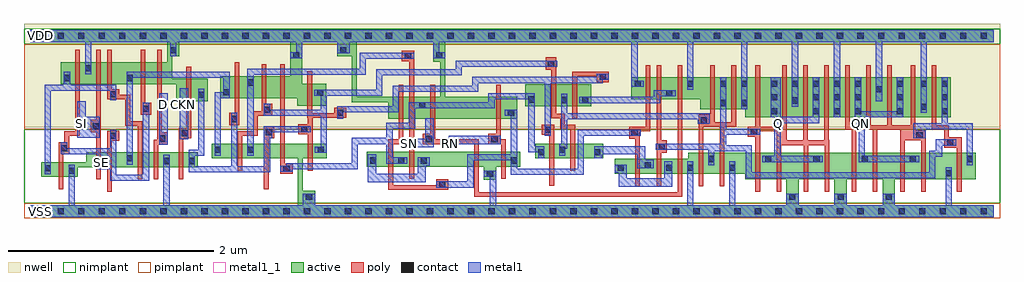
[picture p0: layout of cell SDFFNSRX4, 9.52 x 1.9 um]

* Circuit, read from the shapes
.subckt SDFFNSRX4 CKN D Q QN RN SE SI SN VDD VSS
M1 VSS SE n1 VSS nfet w=0.145u l=0.045u
M2 n2 SI VSS VSS nfet w=0.145u l=0.045u
M3 n3 SE n2 VSS nfet w=0.145u l=0.045u
M4 n4 n1 n3 VSS nfet w=0.145u l=0.045u
M5 VSS D n4 VSS nfet w=0.145u l=0.045u
M6 n5 CKN VSS VSS nfet w=0.145u l=0.045u
M7 n6 n7 n3 VSS nfet w=0.145u l=0.045u
M8 n8 n5 n6 VSS nfet w=0.145u l=0.045u
M9 VSS n9 n8 VSS nfet w=0.145u l=0.045u
M10 n7 n5 VSS VSS nfet w=0.145u l=0.045u
M11 n9 n10 n11 VSS nfet w=0.145u l=0.045u
M12 n11 n6 n9 VSS nfet w=0.145u l=0.045u
M13 VSS SN n11 VSS nfet w=0.145u l=0.045u
M14 n10 RN VSS VSS nfet w=0.145u l=0.045u
M15 n12 n5 n9 VSS nfet w=0.145u l=0.045u
M16 n13 n7 n12 VSS nfet w=0.145u l=0.045u
M17 n13 n10 n14 VSS nfet w=0.145u l=0.045u
M18 n14 n15 n13 VSS nfet w=0.145u l=0.045u
M19 VSS SN n14 VSS nfet w=0.145u l=0.045u
M20 n15 n12 VSS VSS nfet w=0.205u l=0.045u m=2
M21 Q n15 VSS VSS nfet w=0.26u l=0.045u m=4
M22 QN n16 VSS VSS nfet w=0.26u l=0.045u m=4
M23 n16 n15 VSS VSS nfet w=0.26u l=0.045u
M24 VDD SE n1 VDD pfet w=0.215u l=0.045u
M25 n17 SI VDD VDD pfet w=0.215u l=0.045u
M26 n3 n1 n17 VDD pfet w=0.215u l=0.045u
M27 n18 SE n3 VDD pfet w=0.215u l=0.045u
M28 VDD D n18 VDD pfet w=0.215u l=0.045u
M29 n5 CKN VDD VDD pfet w=0.215u l=0.045u
M30 n6 n5 n3 VDD pfet w=0.215u l=0.045u
M31 n19 n7 n6 VDD pfet w=0.215u l=0.045u
M32 VDD n9 n19 VDD pfet w=0.215u l=0.045u
M33 n7 n5 VDD VDD pfet w=0.215u l=0.045u
M34 n20 n10 VDD VDD pfet w=0.215u l=0.045u
M35 n9 n6 n20 VDD pfet w=0.215u l=0.045u
M36 VDD SN n9 VDD pfet w=0.215u l=0.045u
M37 n10 RN VDD VDD pfet w=0.215u l=0.045u
M38 n12 n7 n9 VDD pfet w=0.215u l=0.045u
M39 n21 n5 n12 VDD pfet w=0.215u l=0.045u
M40 n22 n10 VDD VDD pfet w=0.215u l=0.045u
M41 n21 n15 n22 VDD pfet w=0.215u l=0.045u
M42 VDD SN n21 VDD pfet w=0.215u l=0.045u
M43 n15 n12 VDD VDD pfet w=0.31u l=0.045u m=2
M44 Q n15 VDD VDD pfet w=0.39u l=0.045u m=4
M45 QN n16 VDD VDD pfet w=0.39u l=0.045u m=4
M46 n16 n15 VDD VDD pfet w=0.39u l=0.045u
.ends

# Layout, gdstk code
import gdstk
lib = gdstk.Library(unit=1e-6, precision=5e-10)
def R(c, l, rs):  # rectangles x0, y0, x1, y1
    for r in rs: c.add(gdstk.rectangle(r[:2], r[2:], *l))
def A(c, l, x, y, w, h, nx, ny, dx, dy):  # array of equal rectangles
    R(c, l, [(x+i*dx, y+j*dy, x+i*dx+w, y+j*dy+h) for i in range(nx) for j in range(ny)])
def P(c, l, *ps):  # polygons
    for p in ps: c.add(gdstk.Polygon(p, *l))
active = (1, 0)
nwell = (2, 0)
poly = (3, 0)
nimplant = (4, 0)
pimplant = (5, 0)
contact = (6, 0)
metal1 = (7, 0)
metal1_1 = (7, 1)

sdffnsrx4 = lib.new_cell('SDFFNSRX4')
R(sdffnsrx4, active, [(4.925,0.515,5.59,0.66), (4.83,1.025,5.475,1.24)])
P(sdffnsrx4, active, [(0,1.77),(9.4,1.77),(9.4,1.65),(4.05,1.65),(4.05,1.115),(4.75,1.115),(4.75,0.9),(3.495,0.9),(3.495,1.065),(3.135,1.065),(3.135,1.51),(2.995,1.51),(2.995,1.65),(3.185,1.65),(3.185,1.115),(4,1.115),(4,1.46),(3.93,1.46),(3.93,1.65),(2.655,1.65),(2.655,1.245),(2.89,1.245),(2.89,1.03),(2.605,1.03),(2.605,1.1),(1.855,1.1),(1.855,1.315),(2.535,1.315),(2.535,1.65),(1.455,1.65),(1.455,1.51),(1.385,1.51),(1.385,1.29),(1.73,1.29),(1.73,1.075),(1.425,1.075),(1.425,1.24),(0.3,1.24),(0.3,1.455),(1.335,1.455),(1.335,1.65),(0,1.65)],
  [(5.865,1.305),(8.98,1.305),(8.98,0.915),(6.975,0.915),(6.975,0.995),(6.535,0.995),(6.535,1.09),(5.865,1.09)],
  [(1.77,0.66),(2.895,0.66),(2.895,0.515),(2.66,0.515),(2.66,0.2),(2.78,0.2),(2.78,0.06),(7.375,0.06),(7.375,0.31),(7.495,0.31),(7.495,0.06),(7.845,0.06),(7.845,0.31),(7.965,0.31),(7.965,0.06),(8.315,0.06),(8.315,0.31),(6.975,0.31),(6.975,0.365),(5.7,0.365),(5.7,0.51),(6.42,0.51),(6.42,0.57),(9.225,0.57),(9.225,0.31),(8.435,0.31),(8.435,0.06),(9.4,0.06),(9.4,-0.06),(0,-0.06),(0,0.06),(2.61,0.06),(2.61,0.515),(1.77,0.515)],
  [(0.545,0.575),(1.635,0.575),(1.635,0.43),(0.465,0.43),(0.465,0.335),(0.11,0.335),(0.11,0.48),(0.545,0.48)],
  [(3.285,0.58),(4.78,0.58),(4.78,0.435),(4.545,0.435),(4.545,0.305),(4.425,0.305),(4.425,0.435),(3.285,0.435)])
R(sdffnsrx4, nwell, [(-0.06,0.82,9.46,1.83)])
P(sdffnsrx4, poly, [(0.44,1.575),(0.485,1.575),(0.485,0.735),(0.38,0.735),(0.38,0.555),(0.325,0.555),(0.325,0.215),(0.28,0.215),(0.28,0.675),(0.335,0.675),(0.335,0.78),(0.44,0.78)],
  [(0.645,1.575),(0.69,1.575),(0.69,0.31),(0.645,0.31),(0.645,0.77),(0.59,0.77),(0.59,0.89),(0.645,0.89)],
  [(0.75,1.575),(0.795,1.575),(0.795,1.19),(0.87,1.19),(0.87,1.135),(0.975,1.135),(0.975,0.88),(1.095,0.88),(1.095,0.31),(1.05,0.31),(1.05,0.835),(0.93,0.835),(0.93,1.09),(0.75,1.09)],
  [(1.08,1.575),(1.125,1.575),(1.125,1.06),(1.18,1.06),(1.18,0.94),(1.08,0.94)],
  [(1.24,1.575),(1.285,1.575),(1.285,0.77),(1.34,0.77),(1.34,0.65),(1.25,0.65),(1.25,0.31),(1.205,0.31),(1.205,0.695),(1.24,0.695)],
  [(1.525,1.41),(1.57,1.41),(1.57,0.71),(1.495,0.71),(1.495,0.31),(1.45,0.31),(1.45,0.81),(1.525,0.81)],
  [(1.995,1.455),(2.04,1.455),(2.04,0.84),(1.94,0.84),(1.94,0.96),(1.995,0.96)],
  [(2.26,1.435),(2.305,1.435),(2.305,1.05),(2.36,1.05),(2.36,0.93),(2.22,0.93),(2.22,0.735),(2.07,0.735),(2.07,0.395),(2.025,0.395),(2.025,0.78),(2.175,0.78),(2.175,0.975),(2.26,0.975)],
  [(2.44,1.435),(2.485,1.435),(2.485,0.465),(2.56,0.465),(2.56,0.365),(2.44,0.365)],
  [(2.705,1.365),(2.75,1.365),(2.75,0.955),(2.965,0.955),(2.965,1.01),(3.085,1.01),(3.085,0.91),(2.755,0.91),(2.755,0.395),(2.71,0.395),(2.71,0.75),(2.615,0.75),(2.615,0.85),(2.71,0.85),(2.71,0.91),(2.705,0.91)],
  [(3.625,1.565),(3.745,1.565),(3.745,0.315),(3.7,0.315),(3.7,1.465),(3.625,1.465)],
  [(3.595,1.235),(3.64,1.235),(3.64,0.655),(3.54,0.655),(3.54,0.255),(3.96,0.255),(3.96,0.31),(4.08,0.31),(4.08,0.21),(3.495,0.21),(3.495,0.7),(3.595,0.7)],
  [(5.03,1.5),(5.13,1.5),(5.13,0.95),(5.215,0.95),(5.215,0.845),(5.315,0.845),(5.315,0.395),(5.27,0.395),(5.27,0.8),(5.17,0.8),(5.17,0.905),(5.085,0.905),(5.085,1.38),(5.03,1.38)],
  [(3.905,1.235),(3.95,1.235),(3.95,0.7),(4.375,0.7),(4.375,0.185),(6.315,0.185),(6.315,1.425),(6.36,1.425),(6.36,0.14),(4.33,0.14),(4.33,0.655),(3.83,0.655),(3.83,0.755),(3.905,0.755)],
  [(5.29,1.36),(5.645,1.36),(5.645,1.26),(5.525,1.26),(5.525,1.315),(5.335,1.315),(5.335,0.905),(5.29,0.905)],
  [(6.005,1.425),(6.05,1.425),(6.05,0.78),(5.945,0.78),(5.945,0.245),(5.9,0.245),(5.9,0.705),(5.845,0.705),(5.845,0.825),(6.005,0.825)],
  [(6.11,1.425),(6.155,1.425),(6.155,0.69),(6.21,0.69),(6.21,0.57),(6.155,0.57),(6.155,0.245),(6.11,0.245)],
  [(6.635,1.425),(6.68,1.425),(6.68,0.87),(6.84,0.87),(6.84,1.425),(6.885,1.425),(6.885,0.825),(6.77,0.825),(6.77,0.245),(6.725,0.245),(6.725,0.825),(6.565,0.825),(6.565,0.245),(6.52,0.245),(6.52,0.945),(6.635,0.945)],
  [(7.075,1.425),(7.12,1.425),(7.12,0.825),(7.335,0.825),(7.335,1.425),(7.38,1.425),(7.38,0.69),(7.54,0.69),(7.54,1.425),(7.585,1.425),(7.585,0.69),(7.745,0.69),(7.745,1.425),(7.79,1.425),(7.79,0.69),(7.795,0.69),(7.795,0.19),(7.75,0.19),(7.75,0.645),(7.59,0.645),(7.59,0.19),(7.545,0.19),(7.545,0.645),(7.325,0.645),(7.325,0.19),(7.28,0.19),(7.28,0.78),(7.12,0.78),(7.12,0.19),(7.075,0.19),(7.075,0.725),(7,0.725),(7,0.825),(7.075,0.825)],
  [(7.95,1.425),(7.995,1.425),(7.995,0.84),(8.155,0.84),(8.155,1.425),(8.2,1.425),(8.2,0.84),(8.36,0.84),(8.36,1.425),(8.405,1.425),(8.405,0.84),(8.59,0.84),(8.59,1.425),(8.635,1.425),(8.635,0.79),(8.735,0.79),(8.735,0.19),(8.69,0.19),(8.69,0.69),(8.53,0.69),(8.53,0.19),(8.485,0.19),(8.485,0.795),(8.265,0.795),(8.265,0.19),(8.22,0.19),(8.22,0.795),(8.06,0.795),(8.06,0.19),(8.015,0.19),(8.015,0.795),(7.95,0.795)],
  [(8.795,1.425),(8.84,1.425),(8.84,0.84),(8.96,0.84),(8.96,0.72),(9.085,0.72),(9.085,0.19),(9.04,0.19),(9.04,0.62),(8.915,0.62),(8.915,0.795),(8.795,0.795)],
  [(4.545,1.235),(4.59,1.235),(4.59,0.7),(4.64,0.7),(4.64,0.315),(4.595,0.315),(4.595,0.655),(4.47,0.655),(4.47,0.755),(4.545,0.755)],
  [(0.75,0.785),(0.87,0.785),(0.87,0.685),(0.795,0.685),(0.795,0.19),(0.75,0.19)],
  [(2.28,0.83),(2.38,0.83),(2.38,0.71),(2.325,0.71),(2.325,0.215),(2.28,0.215)],
  [(4.99,0.845),(5.11,0.845),(5.11,0.25),(5.065,0.25),(5.065,0.745),(4.99,0.745)])
R(sdffnsrx4, nimplant, [(-0.06,0.08,9.46,0.8), (-0.06,1.63,9.46,1.78)])
R(sdffnsrx4, pimplant, [(-0.06,-0.07,9.46,0.08), (-0.06,0.8,9.46,1.63)])
A(sdffnsrx4, contact, 0.07, -0.03, 0.06, 0.06, 47, 2, 0.2, 1.71)
A(sdffnsrx4, contact, 7.405, 0.11, 0.06, 0.06, 3, 1, 0.47, 0)
A(sdffnsrx4, contact, 7.17, 0.48, 0.06, 0.06, 4, 1, 0.47, 0)
A(sdffnsrx4, contact, 7.635, 0.945, 0.06, 0.06, 3, 2, 0.205, 0.135)
A(sdffnsrx4, contact, 8.455, 0.945, 0.06, 0.06, 1, 3, 0, 0.135)
A(sdffnsrx4, contact, 8.89, 0.945, 0.06, 0.06, 1, 3, 0, 0.135)
A(sdffnsrx4, contact, 7.225, 1.215, 0.06, 0.06, 5, 1, 0.205, 0)
R(sdffnsrx4, contact, [(2.69,0.11,2.75,0.17), (3.99,0.23,4.05,0.29), (4.455,0.335,4.515,0.395), (8.93,0.34,8.99,0.4), (0.375,0.365,0.435,0.425), (2.47,0.385,2.53,0.445), (0.14,0.39,0.2,0.45), (5.73,0.395,5.79,0.455), (6.205,0.395,6.265,0.455), (6.41,0.395,6.47,0.455), (6.82,0.395,6.88,0.455), (5.995,0.42,6.055,0.48), (1.3,0.46,1.36,0.52), (1.545,0.46,1.605,0.52), (3.315,0.465,3.375,0.525), (3.59,0.465,3.65,0.525), (3.81,0.465,3.87,0.525), (4.69,0.465,4.75,0.525), (6.615,0.48,6.675,0.54), (9.135,0.48,9.195,0.54), (0.94,0.485,1,0.545), (4.955,0.545,5.015,0.605), (5.5,0.545,5.56,0.605), (1.8,0.57,1.86,0.63), (2.12,0.57,2.18,0.63), (2.805,0.57,2.865,0.63), (5.16,0.57,5.22,0.63), (0.3,0.585,0.36,0.645), (6.13,0.6,6.19,0.66), (8.945,0.64,9.005,0.7), (3.86,0.675,3.92,0.735), (4.5,0.675,4.56,0.735), (1.26,0.68,1.32,0.74), (0.78,0.705,0.84,0.765), (8.645,0.71,8.705,0.77), (1.48,0.73,1.54,0.79), (5.865,0.735,5.925,0.795), (2.3,0.74,2.36,0.8), (7.03,0.745,7.09,0.805), (5.02,0.765,5.08,0.825), (2.645,0.77,2.705,0.83), (0.61,0.8,0.67,0.86), (6.54,0.855,6.6,0.915), (1.96,0.87,2.02,0.93), (2.995,0.93,3.055,0.99), (4.66,0.93,4.72,0.99), (7.225,0.945,7.285,1.005), (2.28,0.96,2.34,1.02), (1.1,0.97,1.16,1.03), (8.685,0.99,8.745,1.05), (3.795,1.005,3.855,1.065), (6.73,1.025,6.79,1.085), (6.935,1.025,6.995,1.085), (7.43,1.05,7.49,1.11), (5.18,1.055,5.24,1.115), (5.385,1.055,5.445,1.115), (4.86,1.06,4.92,1.12), (7.225,1.08,7.285,1.14), (1.64,1.105,1.7,1.165), (0.78,1.11,0.84,1.17), (6.205,1.12,6.265,1.18), (2.8,1.125,2.86,1.185), (1.885,1.13,1.945,1.19), (8.25,1.16,8.31,1.22), (5.895,1.215,5.955,1.275), (6.41,1.215,6.47,1.275), (6.73,1.215,6.79,1.275), (6.935,1.215,6.995,1.275), (8.685,1.215,8.745,1.275), (2.12,1.225,2.18,1.285), (0.33,1.27,0.39,1.33), (0.94,1.27,1,1.33), (5.555,1.28,5.615,1.34), (0.535,1.365,0.595,1.425), (5.05,1.41,5.11,1.47), (3.655,1.485,3.715,1.545), (2.565,1.49,2.625,1.55), (3.96,1.49,4.02,1.55), (1.365,1.54,1.425,1.6), (3.025,1.54,3.085,1.6)])
R(sdffnsrx4, metal1, [(1.26,0.65,1.34,1.15), (1.46,0.7,1.54,1.2)])
P(sdffnsrx4, metal1, [(0,1.77),(9.4,1.77),(9.4,1.65),(8.745,1.65),(8.745,0.96),(8.685,0.96),(8.685,1.65),(8.31,1.65),(8.31,1.075),(8.25,1.075),(8.25,1.65),(7.9,1.65),(7.9,0.915),(7.84,0.915),(7.84,1.65),(7.49,1.65),(7.49,1.02),(7.43,1.02),(7.43,1.65),(6.995,1.65),(6.995,0.995),(6.935,0.995),(6.935,1.65),(6.47,1.65),(6.47,1.185),(6.41,1.185),(6.41,1.65),(5.925,1.65),(5.925,1.275),(5.985,1.275),(5.985,1.215),(5.865,1.215),(5.865,1.65),(3.99,1.65),(3.99,1.55),(4.05,1.55),(4.05,1.49),(3.93,1.49),(3.93,1.65),(3.115,1.65),(3.115,1.54),(2.995,1.54),(2.995,1.65),(2.655,1.65),(2.655,1.49),(2.535,1.49),(2.535,1.55),(2.595,1.55),(2.595,1.65),(1.425,1.65),(1.425,1.51),(1.365,1.51),(1.365,1.65),(0.595,1.65),(0.595,1.335),(0.535,1.335),(0.535,1.65),(0,1.65)],
  [(3.215,1.545),(3.745,1.545),(3.745,1.485),(3.275,1.485),(3.275,1.33),(2.18,1.33),(2.18,0.54),(2.12,0.54),(2.12,1.39),(3.215,1.39)],
  [(4.15,1.47),(5.14,1.47),(5.14,1.41),(4.21,1.41),(4.21,1.325),(3.435,1.325),(3.435,1.125),(2.895,1.125),(2.895,0.57),(2.775,0.57),(2.775,0.63),(2.835,0.63),(2.835,0.93),(2.28,0.93),(2.28,1.05),(2.34,1.05),(2.34,0.99),(2.835,0.99),(2.835,1.125),(2.77,1.125),(2.77,1.185),(3.375,1.185),(3.375,1.385),(4.15,1.385)],
  [(0.33,1.36),(0.39,1.36),(0.39,1.235),(0.84,1.235),(0.84,1.08),(0.78,1.08),(0.78,1.175),(0.2,1.175),(0.2,0.36),(0.14,0.36),(0.14,1.235),(0.33,1.235)],
  [(0.94,1.36),(1.945,1.36),(1.945,1.1),(1.86,1.1),(1.86,0.54),(1.8,0.54),(1.8,1.16),(1.885,1.16),(1.885,1.3),(1,1.3),(1,0.455),(0.94,0.455)],
  [(0.46,1.075),(0.54,1.075),(0.54,0.92),(0.68,0.92),(0.68,0.715),(0.46,0.715)],
  [(0.3,0.675),(0.36,0.675),(0.36,0.615),(0.78,0.615),(0.78,0.795),(0.84,0.795),(0.84,0.355),(1.1,0.355),(1.1,1.06),(1.16,1.06),(1.16,0.295),(0.78,0.295),(0.78,0.41),(0.66,0.41),(0.66,0.555),(0.3,0.555)],
  [(0.375,0.455),(0.435,0.455),(0.435,0.06),(1.3,0.06),(1.3,0.55),(1.36,0.55),(1.36,0.06),(2.66,0.06),(2.66,0.17),(2.78,0.17),(2.78,0.06),(4.485,0.06),(4.485,0.335),(4.425,0.335),(4.425,0.395),(4.545,0.395),(4.545,0.06),(6.41,0.06),(6.41,0.485),(6.47,0.485),(6.47,0.06),(6.82,0.06),(6.82,0.485),(6.88,0.485),(6.88,0.06),(7.375,0.06),(7.375,0.17),(7.495,0.17),(7.495,0.06),(7.845,0.06),(7.845,0.17),(7.965,0.17),(7.965,0.06),(8.315,0.06),(8.315,0.17),(8.435,0.17),(8.435,0.06),(8.93,0.06),(8.93,0.43),(8.99,0.43),(8.99,0.06),(9.4,0.06),(9.4,-0.06),(0,-0.06),(0,0.06),(0.375,0.06)],
  [(1.64,1.195),(1.7,1.195),(1.7,0.54),(1.605,0.54),(1.605,0.44),(1.96,0.44),(1.96,0.96),(2.02,0.96),(2.02,0.44),(2.28,0.44),(2.28,0.83),(2.735,0.83),(2.735,0.77),(2.36,0.77),(2.36,0.71),(2.34,0.71),(2.34,0.38),(1.545,0.38),(1.545,0.6),(1.64,0.6)],
  [(5.525,1.34),(5.645,1.34),(5.645,1.28),(5.585,1.28),(5.585,1.25),(5.08,1.25),(5.08,0.735),(5.02,0.735),(5.02,1.25),(4.37,1.25),(4.37,1.165),(3.595,1.165),(3.595,0.965),(3.055,0.965),(3.055,0.9),(2.995,0.9),(2.995,1.025),(3.535,1.025),(3.535,1.225),(4.31,1.225),(4.31,1.31),(5.525,1.31)],
  [(4.47,1.15),(4.92,1.15),(4.92,0.635),(5.015,0.635),(5.015,0.515),(4.955,0.515),(4.955,0.575),(4.86,0.575),(4.86,1.09),(4.53,1.09),(4.53,1.005),(3.755,1.005),(3.755,0.805),(3.535,0.805),(3.535,0.525),(3.68,0.525),(3.68,0.465),(3.475,0.465),(3.475,0.655),(3.195,0.655),(3.195,0.41),(2.56,0.41),(2.56,0.385),(2.44,0.385),(2.44,0.445),(2.5,0.445),(2.5,0.47),(3.135,0.47),(3.135,0.715),(3.475,0.715),(3.475,0.865),(3.695,0.865),(3.695,1.065),(4.47,1.065)],
  [(4.63,0.99),(4.75,0.99),(4.75,0.415),(5.34,0.415),(5.34,0.795),(5.955,0.795),(5.955,0.735),(5.4,0.735),(5.4,0.355),(4.69,0.355),(4.69,0.495),(4.325,0.495),(4.325,0.23),(3.96,0.23),(3.96,0.29),(4.265,0.29),(4.265,0.555),(4.69,0.555),(4.69,0.93),(4.63,0.93)],
  [(3.855,0.905),(3.935,0.905),(3.935,0.625),(3.635,0.625),(3.635,0.705),(3.855,0.705)],
  [(3.295,0.555),(3.375,0.555),(3.375,0.365),(3.78,0.365),(3.78,0.525),(3.9,0.525),(3.9,0.445),(3.86,0.445),(3.86,0.285),(3.295,0.285)],
  [(4.085,0.735),(4.59,0.735),(4.59,0.655),(4.165,0.655),(4.165,0.625),(4.035,0.625),(4.035,0.705),(4.085,0.705)],
  [(5.18,1.145),(5.24,1.145),(5.24,0.955),(6.63,0.955),(6.63,0.855),(6.51,0.855),(6.51,0.895),(5.24,0.895),(5.24,0.61),(5.22,0.61),(5.22,0.54),(5.16,0.54),(5.16,0.66),(5.18,0.66)],
  [(6.085,1.18),(6.295,1.18),(6.295,1.12),(6.145,1.12),(6.145,1.055),(5.355,1.055),(5.355,1.115),(6.085,1.115)],
  [(6.73,1.305),(6.79,1.305),(6.79,0.805),(7.12,0.805),(7.12,0.745),(6.79,0.745),(6.79,0.645),(7.04,0.645),(7.04,0.38),(8.77,0.38),(8.77,0.59),(8.835,0.59),(8.835,0.7),(9.035,0.7),(9.035,0.64),(8.895,0.64),(8.895,0.53),(8.83,0.53),(8.83,0.32),(6.98,0.32),(6.98,0.585),(6.675,0.585),(6.675,0.45),(6.615,0.45),(6.615,0.6),(6.1,0.6),(6.1,0.66),(6.73,0.66)],
  [(7.225,1.305),(7.32,1.305),(7.32,0.92),(7.635,0.92),(7.635,1.305),(7.695,1.305),(7.695,0.86),(7.34,0.86),(7.34,0.79),(7.32,0.79),(7.32,0.54),(7.73,0.54),(7.73,0.48),(7.14,0.48),(7.14,0.54),(7.26,0.54),(7.26,0.915),(7.225,0.915)],
  [(8.045,1.305),(8.105,1.305),(8.105,0.975),(8.455,0.975),(8.455,1.305),(8.515,1.305),(8.515,0.915),(8.14,0.915),(8.14,0.54),(8.67,0.54),(8.67,0.48),(8.08,0.48),(8.08,0.79),(8.06,0.79),(8.06,0.915),(8.045,0.915)],
  [(8.89,1.305),(8.95,1.305),(8.95,0.86),(9.195,0.86),(9.195,0.45),(9.135,0.45),(9.135,0.8),(8.735,0.8),(8.735,0.71),(8.615,0.71),(8.615,0.86),(8.89,0.86)],
  [(5.5,0.635),(6,0.635),(6,0.5),(6.085,0.5),(6.085,0.42),(5.92,0.42),(5.92,0.555),(5.58,0.555),(5.58,0.515),(5.5,0.515)],
  [(5.7,0.455),(5.82,0.455),(5.82,0.32),(6.185,0.32),(6.185,0.485),(6.265,0.485),(6.265,0.24),(5.74,0.24),(5.74,0.375),(5.7,0.375)])
R(sdffnsrx4, metal1_1, [(0.06,-0.04,0.14,0.04), (0.66,0.435,0.74,0.515), (3.66,0.625,3.74,0.705), (4.06,0.625,4.14,0.705), (0.46,0.815,0.54,0.895), (7.26,0.815,7.34,0.895), (8.06,0.815,8.14,0.895), (1.26,1.005,1.34,1.085), (1.46,1.005,1.54,1.085), (0.06,1.67,0.14,1.75)])
sdffnsrx4.add(gdstk.Label('QN', (8.1,0.855), layer=7, texttype=1))
sdffnsrx4.add(gdstk.Label('Q', (7.3,0.855), layer=7, texttype=1))
sdffnsrx4.add(gdstk.Label('RN', (4.1,0.665), layer=7, texttype=1))
sdffnsrx4.add(gdstk.Label('SN', (3.7,0.665), layer=7, texttype=1))
sdffnsrx4.add(gdstk.Label('CKN', (1.5,1.045), layer=7, texttype=1))
sdffnsrx4.add(gdstk.Label('D', (1.3,1.045), layer=7, texttype=1))
sdffnsrx4.add(gdstk.Label('SI', (0.5,0.855), layer=7, texttype=1))
sdffnsrx4.add(gdstk.Label('SE', (0.7,0.475), layer=7, texttype=1))
sdffnsrx4.add(gdstk.Label('VDD', (0.1,1.71), layer=7, texttype=1))
sdffnsrx4.add(gdstk.Label('VSS', (0.1,0), layer=7, texttype=1))
sdffnsrx4.add(gdstk.Label('SDFFNSRX4', (0,0), layer=63, texttype=0))

lib.write_gds('SDFFNSRX4.gds')
